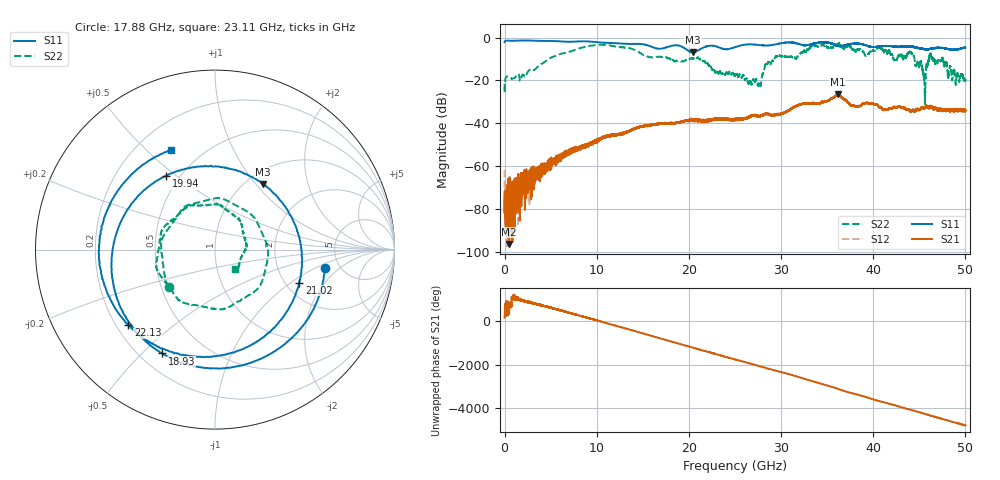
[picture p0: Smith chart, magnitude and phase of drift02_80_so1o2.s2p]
!Created with skrf (http://scikit-rf.org).
# Hz S RI R 50.0
!freq ReS11 ImS11 ReS21 ImS21 ReS12 ImS12 ReS22 ImS22
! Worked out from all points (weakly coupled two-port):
!   10001 points, 300 kHz to 50 GHz, reference 50 ohm
!   highest |S21| = -26.35 dB at 36.14 GHz (marker M1); lowest = -96.4 dB at 500.3 MHz (marker M2)
!   lowest |S11| = -6.9 dB at 20.44 GHz (marker M3), VSWR 2.65, Z = 59.3 + j54.4 ohm
!   |S11| at or under -10 dB: nowhere
!   |S22| runs from -31.2 to -2.6 dB; largest |S21 - S12| = 0.0046
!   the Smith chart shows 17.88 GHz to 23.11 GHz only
!   S11 on the Smith chart (normalised r, x): 17.88 GHz: 3.81, -1.30; 18.93 GHz: 0.29, -0.58; 19.94 GHz: 0.42, +0.46; 21.02 GHz: 2.36, -1.17; 22.13 GHz: 0.25, -0.36; 23.11 GHz: 0.34, +0.59
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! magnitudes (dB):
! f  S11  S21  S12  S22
! 300 kHz  -2.1  -72.0  -61.9  -21.5
! 255.3 MHz  -1.4  -78.0  -77.0  -18.2
! 500.3 MHz  -1.5  -96.4  -82.4  -18.7
! 8.335 GHz  -1.7  -50.5  -51.1  -4.7
! 16.67 GHz  -5.2  -40.1  -40.4  -9.0
! 17.88 GHz  -4.1  -40.2  -40.0  -9.6
! 18.93 GHz  -3.8  -39.5  -39.6  -10.8
! 19.94 GHz  -6.1  -38.7  -38.6  -9.9
! 20.44 GHz  -6.9  -38.0  -38.7  -9.8
! 21.02 GHz  -6.0  -38.6  -38.4  -9.4
! 22.13 GHz  -3.9  -38.9  -38.6  -12.8
! 23.11 GHz  -4.4  -38.1  -38.1  -16.2
! 25 GHz  -4.5  -38.3  -38.4  -17.7
! 27.63 GHz  -3.5  -36.8  -36.7  -21.4
! 29.54 GHz  -3.0  -35.8  -36.2  -8.8
! 33.34 GHz  -3.1  -30.6  -30.6  -3.8
! 36.14 GHz  -3.9  -26.3  -27.0  -3.0
! 41.67 GHz  -3.9  -33.4  -33.3  -6.0
! 44.14 GHz  -4.1  -34.5  -34.4  -7.1
! 45.51 GHz  -5.3  -32.8  -33.3  -18.0
! 46.25 GHz  -5.2  -32.5  -31.9  -8.2
! 50 GHz  -4.7  -33.7  -34.3  -20.0
